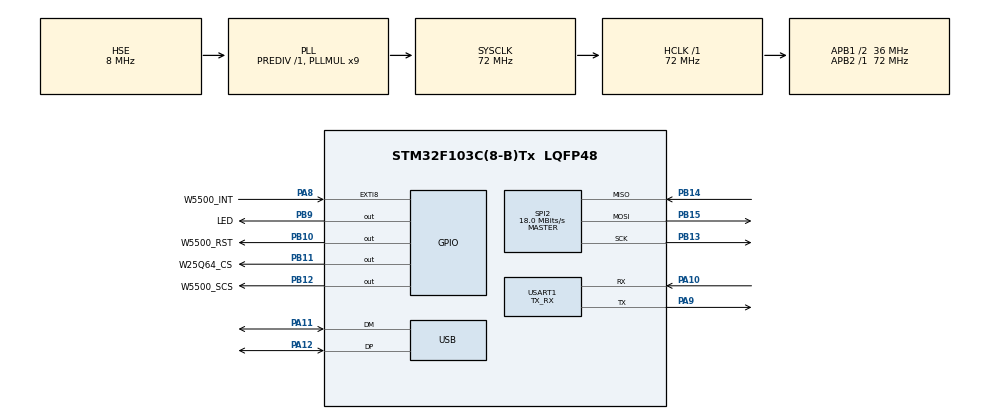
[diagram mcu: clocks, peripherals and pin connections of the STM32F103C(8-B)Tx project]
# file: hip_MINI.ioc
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ADC1.Channel-1\#ChannelRegularConversion=ADC_CHANNEL_TEMPSENSOR
ADC1.NbrOfConversion=1
ADC1.NbrOfConversionFlag=1
ADC1.Rank-1\#ChannelRegularConversion=1
ADC1.SamplingTime-1\#ChannelRegularConversion=ADC_SAMPLETIME_71CYCLES_5
ADC1.master=1
Mcu.Family=STM32F1
Mcu.Name=STM32F103C(8-B)Tx
Mcu.Package=LQFP48
NVIC.PriorityGroup=NVIC_PRIORITYGROUP_4
NVIC.TIM2_IRQn=true\:0\:0\:false\:false\:true\:true\:true\:true
NVIC.USB_LP_CAN1_RX0_IRQn=true\:0\:0\:false\:false\:true\:false\:true\:true
PA10.Mode=Asynchronous
PA10.Signal=USART1_RX
PA11.Mode=Device
PA11.Signal=USB_DM
PA12.Mode=Device
PA12.Signal=USB_DP
PA13.Mode=Serial_Wire
PA13.Signal=SYS_JTMS-SWDIO
PA14.Mode=Serial_Wire
PA14.Signal=SYS_JTCK-SWCLK
PA8.GPIO_Label=W5500_INT
PA8.GPIO_ModeDefaultEXTI=GPIO_MODE_IT_FALLING
PA8.GPIO_PuPd=GPIO_PULLUP
PA8.Signal=GPXTI8
PA9.Mode=Asynchronous
PA9.Signal=USART1_TX
PB10.GPIO_Label=W5500_RST
PB10.GPIO_ModeDefaultOutputPP=GPIO_MODE_OUTPUT_PP
PB10.GPIO_PuPd=GPIO_PULLUP
PB10.PinState=GPIO_PIN_RESET
PB10.Signal=GPIO_Output
PB11.GPIO_Label=W25Q64_CS
PB11.GPIO_PuPd=GPIO_PULLUP
PB11.PinState=GPIO_PIN_SET
PB11.Signal=GPIO_Output
PB12.GPIO_Label=W5500_SCS
PB12.GPIO_ModeDefaultOutputPP=GPIO_MODE_OUTPUT_PP
PB12.GPIO_PuPd=GPIO_PULLUP
PB12.PinState=GPIO_PIN_SET
PB12.Signal=GPIO_Output
PB13.Mode=Full_Duplex_Master
PB13.Signal=SPI2_SCK
PB14.Mode=Full_Duplex_Master
PB14.Signal=SPI2_MISO
PB15.Mode=Full_Duplex_Master
PB15.Signal=SPI2_MOSI
PB9.GPIO_Label=LED
PB9.GPIO_ModeDefaultOutputPP=GPIO_MODE_OUTPUT_OD
PB9.GPIO_PuPd=GPIO_NOPULL
PB9.PinState=GPIO_PIN_SET
PB9.Signal=GPIO_Output
PC14-OSC32_IN.Mode=LSE-External-Oscillator
PC14-OSC32_IN.Signal=RCC_OSC32_IN
PC15-OSC32_OUT.Mode=LSE-External-Oscillator
PC15-OSC32_OUT.Signal=RCC_OSC32_OUT
PD0-OSC_IN.Mode=HSE-External-Oscillator
PD0-OSC_IN.Signal=RCC_OSC_IN
PD1-OSC_OUT.Mode=HSE-External-Oscillator
PD1-OSC_OUT.Signal=RCC_OSC_OUT
ProjectManager.HeapSize=0x600
ProjectManager.StackSize=0x400
ProjectManager.TargetToolchain=MDK-ARM V5.32
RCC.ADCPresc=RCC_ADCPCLK2_DIV6
RCC.AHBFreq_Value=72000000
RCC.APB1CLKDivider=RCC_HCLK_DIV2
RCC.APB1Freq_Value=36000000
RCC.APB1TimFreq_Value=72000000
RCC.APB2Freq_Value=72000000
RCC.APB2TimFreq_Value=72000000
RCC.HCLKFreq_Value=72000000
RCC.PLLMUL=RCC_PLL_MUL9
RCC.SYSCLKFreq_VALUE=72000000
RCC.SYSCLKSource=RCC_SYSCLKSOURCE_PLLCLK
RCC.USBFreq_Value=48000000
RCC.USBPrescaler=RCC_USBCLKSOURCE_PLL_DIV1_5
SPI2.CalculateBaudRate=18.0 MBits/s
SPI2.Direction=SPI_DIRECTION_2LINES
SPI2.Mode=SPI_MODE_MASTER
SPI2.VirtualType=VM_MASTER
TIM2.AutoReloadPreload=TIM_AUTORELOAD_PRELOAD_ENABLE
TIM2.Period=9999
TIM2.Prescaler=7199
USART1.Mode=MODE_TX_RX
USART1.VirtualMode=VM_ASYNC
USB_DEVICE.CLASS_NAME_FS=CDC
USB_DEVICE.USBD_DEBUG_LEVEL=0
USB_DEVICE.VirtualMode=Cdc
USB_DEVICE.VirtualModeFS=Cdc_FS
VP_ADC1_TempSens_Input.Mode=IN-TempSens
VP_TIM2_VS_ClockSourceINT.Mode=Internal
VP_USB_DEVICE_VS_USB_DEVICE_CDC_FS.Mode=CDC_FS
board=custom

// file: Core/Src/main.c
/* USER CODE BEGIN Header */
/**
  ******************************************************************************
  * @file           : main.c
  * @brief          : Main program body
  ******************************************************************************
  * @attention
  *
  * Copyright (c) 2024 STMicroelectronics.
  * All rights reserved.
  *
  * This software is licensed under terms that can be found in the LICENSE file
  * in the root directory of this software component.
  * If no LICENSE file comes with this software, it is provided AS-IS.
  *
  ******************************************************************************
  */
/* USER CODE END Header */
#include "main.h"
#include "adc.h"
#include "spi.h"
#include "tim.h"
#include "usart.h"
#include "usb_device.h"
#include "gpio.h"

/* USER CODE BEGIN Includes */
#include "hip_svr.h"
/* USER CODE END Includes */

void SystemClock_Config(void);

/* USER CODE BEGIN 0 */
// USB port initial
static void USB_Status_Init(void)
{
	GPIO_InitTypeDef GPIO_InitStruct = {0};

	/* GPIO Ports Clock Enable */
	__HAL_RCC_GPIOA_CLK_ENABLE();

	/*Configure GPIO pin Output Level */
	HAL_GPIO_WritePin(GPIOA, GPIO_PIN_11 | GPIO_PIN_12, GPIO_PIN_RESET);

	/*Configure GPIO pin : USB_DP&DM_Pin */
	GPIO_InitStruct.Pin = GPIO_PIN_11 | GPIO_PIN_12;
	GPIO_InitStruct.Mode = GPIO_MODE_OUTPUT_PP;
	GPIO_InitStruct.Pull = GPIO_PULLDOWN;
	GPIO_InitStruct.Speed = GPIO_SPEED_FREQ_HIGH;
	HAL_GPIO_Init(GPIOA, &GPIO_InitStruct);

	// Enlarge the delay time to avoid USB port failed in initial
	HAL_Delay(10);
}
/* USER CODE END 0 */

int main(void)
{

  /* MCU Configuration--------------------------------------------------------*/

  /* Reset of all peripherals, Initializes the Flash interface and the Systick. */
  HAL_Init();

  /* Configure the system clock */
  SystemClock_Config();

  /* USER CODE BEGIN SysInit */
  USB_Status_Init();
  /* USER CODE END SysInit */

  /* Initialize all configured peripherals */
  MX_GPIO_Init();
  MX_ADC1_Init();
  MX_SPI2_Init();
  MX_USB_DEVICE_Init();
  MX_TIM2_Init();
  MX_USART1_UART_Init();
  /* USER CODE BEGIN 2 */
  HAL_Delay(500); // Wait for USB port ready
	HAL_TIM_Base_Start_IT(&htim2); // Start TIM2

	hip_server_init(); // hip server initial
  /* USER CODE END 2 */

  /* Infinite loop */
  while (1)
  {

    /* USER CODE BEGIN 3 */
    hip_server_thread();
  }
  /* USER CODE END 3 */
}

void SystemClock_Config(void)
{
  RCC_OscInitTypeDef RCC_OscInitStruct = {0};
  RCC_ClkInitTypeDef RCC_ClkInitStruct = {0};
  RCC_PeriphCLKInitTypeDef PeriphClkInit = {0};

  /** Initializes the RCC Oscillators according to the specified parameters
  * in the RCC_OscInitTypeDef structure.
  */
  RCC_OscInitStruct.OscillatorType = RCC_OSCILLATORTYPE_HSE;
  RCC_OscInitStruct.HSEState = RCC_HSE_ON;
  RCC_OscInitStruct.HSEPredivValue = RCC_HSE_PREDIV_DIV1;
  RCC_OscInitStruct.HSIState = RCC_HSI_ON;
  RCC_OscInitStruct.PLL.PLLState = RCC_PLL_ON;
  RCC_OscInitStruct.PLL.PLLSource = RCC_PLLSOURCE_HSE;
  RCC_OscInitStruct.PLL.PLLMUL = RCC_PLL_MUL9;
  if (HAL_RCC_OscConfig(&RCC_OscInitStruct) != HAL_OK)
  {
    Error_Handler();
  }

  /** Initializes the CPU, AHB and APB buses clocks
  */
  RCC_ClkInitStruct.ClockType = RCC_CLOCKTYPE_HCLK|RCC_CLOCKTYPE_SYSCLK
                              |RCC_CLOCKTYPE_PCLK1|RCC_CLOCKTYPE_PCLK2;
  RCC_ClkInitStruct.SYSCLKSource = RCC_SYSCLKSOURCE_PLLCLK;
  RCC_ClkInitStruct.AHBCLKDivider = RCC_SYSCLK_DIV1;
  RCC_ClkInitStruct.APB1CLKDivider = RCC_HCLK_DIV2;
  RCC_ClkInitStruct.APB2CLKDivider = RCC_HCLK_DIV1;

  if (HAL_RCC_ClockConfig(&RCC_ClkInitStruct, FLASH_LATENCY_2) != HAL_OK)
  {
    Error_Handler();
  }
  PeriphClkInit.PeriphClockSelection = RCC_PERIPHCLK_ADC|RCC_PERIPHCLK_USB;
  PeriphClkInit.AdcClockSelection = RCC_ADCPCLK2_DIV6;
  PeriphClkInit.UsbClockSelection = RCC_USBCLKSOURCE_PLL_DIV1_5;
  if (HAL_RCCEx_PeriphCLKConfig(&PeriphClkInit) != HAL_OK)
  {
    Error_Handler();
  }
}

/* USER CODE BEGIN 4 */
void HAL_TIM_PeriodElapsedCallback(TIM_HandleTypeDef *htim)
{
	if (htim->Instance == htim2.Instance)
	{ // TIM2 timeout interruption
		hip_time_handler();
	}
}
/* USER CODE END 4 */

void Error_Handler(void)
{
  __disable_irq();
  while (1)
  {
  }
}
